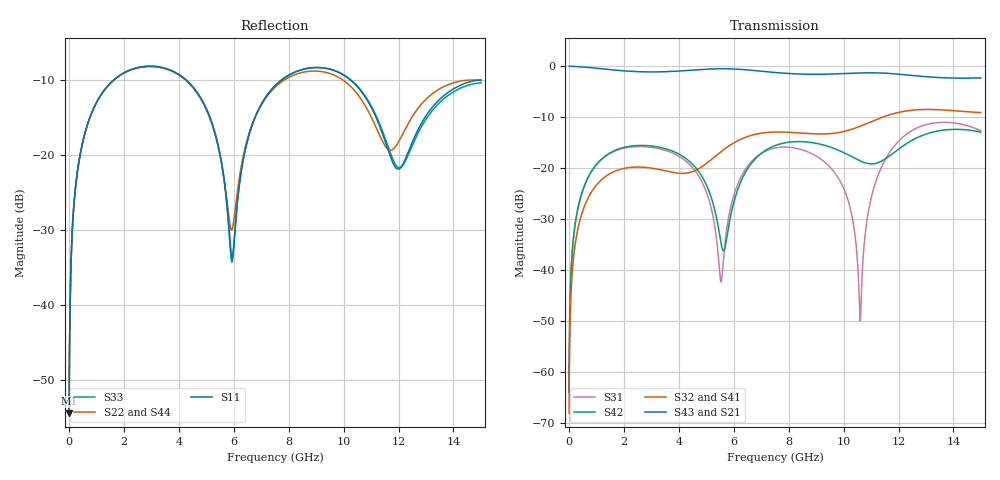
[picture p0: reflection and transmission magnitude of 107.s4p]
! Created with skrf 1.8.0 (http://scikit-rf.org).
# GHz S RI R 50.0
!freq ReS11 ImS11 ReS12 ImS12 ReS13 ImS13
! ReS14 ImS14
! ReS21 ImS21 ReS22 ImS22 ReS23 ImS23
! ReS24 ImS24
! ReS31 ImS31 ReS32 ImS32 ReS33 ImS33
! ReS34 ImS34
! ReS41 ImS41 ReS42 ImS42 ReS43 ImS43
! ReS44 ImS44
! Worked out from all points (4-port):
!   2499 points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, 5 MHz to 15 GHz, reference 50 ohm
!   strongest paths, dB at 5 MHz, 3.476 GHz, 7.19 GHz, 11.1 GHz, 15 GHz:
!     S43: 0.0, -1.1, -1.1, -1.3, -2.3
!     S21: 0.0, -1.1, -1.1, -1.3, -2.4
!     S32: -68.1, -20.5, -13.0, -10.7, -9.1
!     S41: -68.1, -20.5, -13.1, -10.7, -9.2
!     S42: -64.0, -16.1, -16.4, -19.1, -12.9
!     S31: -64.0, -16.5, -16.6, -23.9, -12.7
!   lowest |S11| = -54.4 dB at 5 MHz (marker M1), VSWR 1.00, Z = 50.2 + j0.115 ohm
!   |S11| at or under -10 dB: start of sweep to 1.625 GHz; 4.273 GHz to 7.741 GHz (3.469 GHz wide, 57.7 % of centre); 10.25 GHz to 14.92 GHz (4.669 GHz wide, 37.1 % of centre)
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0.005  0.00151 0.00115  0.9985 -0.00295  7.65e-05 0.000627  -7.42e-05 -0.000389
       0.9985 -0.00295  0.00151 0.00115  -7.42e-05 -0.000389  7.66e-05 0.000627
       7.65e-05 0.000627  -7.42e-05 -0.000389  0.00151 0.00115  0.9985 -0.00295
       -7.42e-05 -0.000389  7.66e-05 0.000627  0.9985 -0.00295  0.00151 0.00115
1.519383  0.2398 0.1858  0.6129 -0.6888  0.1182 0.0763  -0.0875 -0.0167
          0.6129 -0.6888  0.2378 0.1869  -0.0876 -0.0166  0.1242 0.0694
          0.1182 0.0763  -0.0876 -0.0166  0.2397 0.1858  0.613 -0.6888
          -0.0875 -0.0167  0.1242 0.0694  0.613 -0.6888  0.2378 0.1868
5.764902  0.0227 -0.0387  -0.9288 -0.1535  0.00855 0.0262  -0.0233 0.1591
          -0.9288 -0.1535  0.0337 -0.033  -0.0216 0.1594  -0.0118 0.0189
          0.00855 0.0262  -0.0216 0.1594  0.0216 -0.0374  -0.9289 -0.1533
          -0.0233 0.1591  -0.0118 0.0189  -0.9289 -0.1533  0.0342 -0.0314
9.253856  0.3776 -0.0478  0.0283 0.8326  0.1083 -0.0473  0.2077 -0.0559
          0.0283 0.8326  0.3576 -0.0299  0.2077 -0.0604  0.1047 -0.1326
          0.1083 -0.0473  0.2077 -0.0604  0.3792 -0.0444  0.0271 0.8319
          0.2077 -0.0559  0.1047 -0.1326  0.0271 0.8319  0.3601 -0.033
10.60442  0.2088 -0.1728  0.565 0.645  -0.0026 -0.00185  0.1919 -0.172
          0.565 0.645  0.2037 -0.1286  0.1876 -0.1764  -0.0723 -0.0929
          -0.0026 -0.00185  0.1876 -0.1764  0.2134 -0.1725  0.5625 0.646
          0.1919 -0.172  -0.0723 -0.0929  0.5625 0.646  0.2044 -0.1329
11.7549  0.0783 -0.0494  0.8244 0.1821  0.0202 0.1517  0.0762 -0.33
         0.8244 0.1821  0.1083 -0.000297  0.0695 -0.3309  -0.0817 0.1098
         0.0202 0.1517  0.0695 -0.3309  0.0805 -0.0552  0.8234 0.186
         0.0762 -0.33  -0.0817 0.1098  0.8234 0.186  0.1076 -0.00488
15  0.3165 -0.0224  0.152 -0.7469  0.2208 -0.0712  -0.3466 0.0117
    0.152 -0.7469  0.3108 -0.0435  -0.3498 0.0214  0.2028 -0.0979
    0.2208 -0.0712  -0.3498 0.0214  0.3026 -0.016  0.1564 -0.7498
    -0.3466 0.0117  0.2028 -0.0979  0.1564 -0.7498  0.3038 -0.0503
